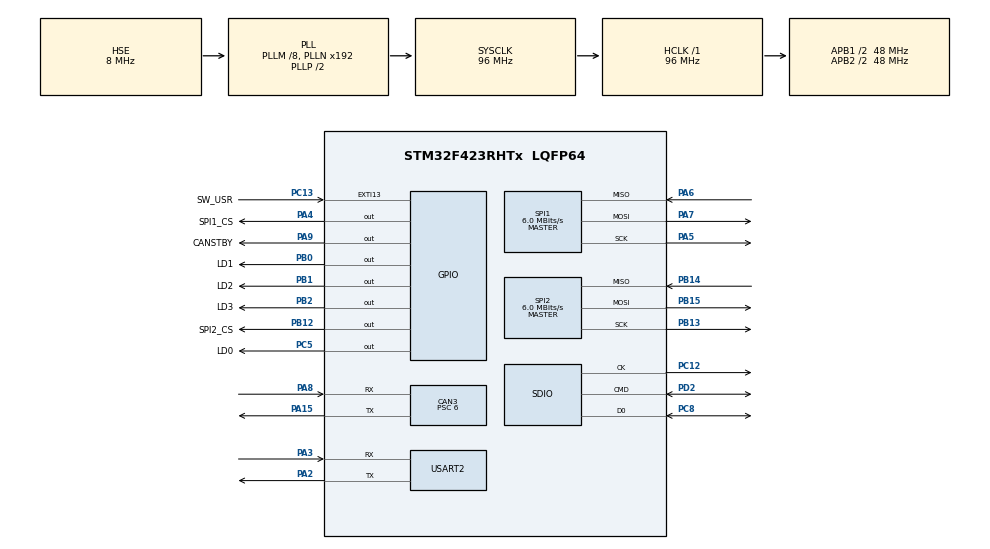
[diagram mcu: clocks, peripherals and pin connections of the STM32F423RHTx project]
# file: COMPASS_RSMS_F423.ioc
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CAN3.BS1=CAN_BS1_6TQ
CAN3.BS2=CAN_BS2_1TQ
CAN3.CalculateBaudRate=1000000
CAN3.CalculateTimeBit=1000.00
CAN3.CalculateTimeQuantum=125.0
CAN3.Prescaler=6
Mcu.Family=STM32F4
Mcu.Name=STM32F423RHTx
Mcu.Package=LQFP64
NVIC.CAN3_RX0_IRQn=true\:3\:0\:true\:false\:true\:true\:true
NVIC.EXTI15_10_IRQn=true\:2\:0\:true\:false\:true\:true\:true
NVIC.PriorityGroup=NVIC_PRIORITYGROUP_4
NVIC.TIM6_DAC_IRQn=true\:3\:0\:true\:false\:true\:true\:true
PA13.Mode=Trace_Asynchronous_SW
PA13.Signal=SYS_JTMS-SWDIO
PA14.Mode=Trace_Asynchronous_SW
PA14.Signal=SYS_JTCK-SWCLK
PA15.Mode=CAN_Activate
PA15.Signal=CAN3_TX
PA2.GPIO_PuPd=GPIO_PULLUP
PA2.Mode=Asynchronous
PA2.Signal=USART2_TX
PA3.GPIO_PuPd=GPIO_PULLUP
PA3.Mode=Asynchronous
PA3.Signal=USART2_RX
PA4.GPIO_Label=SPI1_CS
PA4.Signal=GPIO_Output
PA5.Mode=Full_Duplex_Master
PA5.Signal=SPI1_SCK
PA6.Mode=Full_Duplex_Master
PA6.Signal=SPI1_MISO
PA7.Mode=Full_Duplex_Master
PA7.Signal=SPI1_MOSI
PA8.Mode=CAN_Activate
PA8.Signal=CAN3_RX
PA9.GPIO_Label=CANSTBY
PA9.GPIO_PuPd=GPIO_PULLDOWN
PA9.Signal=GPIO_Output
PB0.GPIO_Label=LD1
PB0.Signal=GPIO_Output
PB1.GPIO_Label=LD2
PB1.Signal=GPIO_Output
PB12.GPIO_Label=SPI2_CS
PB12.Signal=GPIO_Output
PB13.Mode=Full_Duplex_Master
PB13.Signal=SPI2_SCK
PB14.Mode=Full_Duplex_Master
PB14.Signal=SPI2_MISO
PB15.Mode=Full_Duplex_Master
PB15.Signal=SPI2_MOSI
PB2.GPIO_Label=LD3
PB2.Signal=GPIO_Output
PB3.Mode=Trace_Asynchronous_SW
PB3.Signal=SYS_JTDO-SWO
PC10.GPIO_PuPd=GPIO_PULLUP
PC10.Signal=SDIO_D2
PC11.GPIO_PuPd=GPIO_PULLUP
PC11.Signal=SDIO_D3
PC12.Mode=SD_1_bit
PC12.Signal=SDIO_CK
PC13.GPIO_Label=SW_USR
PC13.Signal=GPXTI13
PC5.GPIO_Label=LD0
PC5.Signal=GPIO_Output
PC8.GPIO_PuPd=GPIO_PULLUP
PC8.Mode=SD_1_bit
PC8.Signal=SDIO_D0
PC9.GPIO_PuPd=GPIO_PULLUP
PC9.Signal=SDIO_D1
PD2.GPIO_PuPd=GPIO_PULLUP
PD2.Mode=SD_1_bit
PD2.Signal=SDIO_CMD
PH0\ -\ OSC_IN.Mode=HSE-External-Oscillator
PH0\ -\ OSC_IN.Signal=RCC_OSC_IN
PH1\ -\ OSC_OUT.Mode=HSE-External-Oscillator
PH1\ -\ OSC_OUT.Signal=RCC_OSC_OUT
ProjectManager.HeapSize=0x200
ProjectManager.StackSize=0x400
ProjectManager.TargetToolchain=STM32CubeIDE
RCC.AHBFreq_Value=96000000
RCC.APB1CLKDivider=RCC_HCLK_DIV2
RCC.APB1Freq_Value=48000000
RCC.APB1TimFreq_Value=96000000
RCC.APB2CLKDivider=RCC_HCLK_DIV2
RCC.APB2Freq_Value=48000000
RCC.APB2TimFreq_Value=96000000
RCC.CortexFreq_Value=96000000
RCC.HCLKFreq_Value=96000000
RCC.HSE_VALUE=8000000
RCC.PLLM=8
RCC.PLLQ=8
RCC.PLLSourceVirtual=RCC_PLLSOURCE_HSE
RCC.SYSCLKFreq_VALUE=96000000
RCC.SYSCLKSource=RCC_SYSCLKSOURCE_PLLCLK
RCC.USBFreq_Value=24000000
RCC.VCOOutputFreq_Value=192000000
SDIO.ClockDiv=15
SPI1.BaudRatePrescaler=SPI_BAUDRATEPRESCALER_8
SPI1.CLKPhase=SPI_PHASE_2EDGE
SPI1.CalculateBaudRate=6.0 MBits/s
SPI1.DataSize=SPI_DATASIZE_16BIT
SPI1.Direction=SPI_DIRECTION_2LINES
SPI1.FirstBit=SPI_FIRSTBIT_MSB
SPI1.Mode=SPI_MODE_MASTER
SPI1.VirtualType=VM_MASTER
SPI2.BaudRatePrescaler=SPI_BAUDRATEPRESCALER_8
SPI2.CLKPhase=SPI_PHASE_2EDGE
SPI2.CalculateBaudRate=6.0 MBits/s
SPI2.DataSize=SPI_DATASIZE_16BIT
SPI2.Direction=SPI_DIRECTION_2LINES
SPI2.Mode=SPI_MODE_MASTER
SPI2.VirtualType=VM_MASTER
TIM6.Period=1000 - 1
TIM6.Prescaler=96 - 1
USART2.VirtualMode=VM_ASYNC
VP_FATFS_VS_SDIO.Mode=SDIO
VP_TIM6_VS_ClockSourceINT.Mode=Enable_Timer
board=custom

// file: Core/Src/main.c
/* USER CODE BEGIN Header */
/**
 ******************************************************************************
 * @file           : main.c
 * @brief          : Main program body
 ******************************************************************************
 * @attention
 *
 * <h2><center>&copy; Copyright (c) 2021 STMicroelectronics.
 * All rights reserved.</center></h2>
 *
 * This software component is licensed by ST under BSD 3-Clause license,
 * the "License"; You may not use this file except in compliance with the
 * License. You may obtain a copy of the License at:
 *                        opensource.org/licenses/BSD-3-Clause
 *
 ******************************************************************************
 */
/* USER CODE END Header */
#include "main.h"
#include "can.h"
#include "fatfs.h"
#include "sdio.h"
#include "spi.h"
#include "tim.h"
#include "usart.h"
#include "gpio.h"

/* USER CODE BEGIN Includes */
#include "OSUserInclude.h"
#include "rsms.h"
/* USER CODE END Includes */

/* USER CODE BEGIN PV */

//IFC_PeripheralStruct ifc;
RSMS_PeripheralStruct rsms;
/* USER CODE END PV */

void SystemClock_Config(void);

/* USER CODE BEGIN 0 */
//uint16_t data[8];
//uint8_t indx;
//char str[15 + 8 * 6];
//void measureStuff(ADS_8688 *adc){
//	for(indx = 0; indx < 8; indx++){
//		data[indx] = ADS_measure(adc);
//	}
//	snprintf(str, 15 + 8 * 6, "Data: %06u %06u %06u %06u %06u %06u %06u %06u\n", data[0], data[1], data[2], data[3], data[4], data[5], data[6], data[7]);
//	xprintf(str);
//}
/* USER CODE END 0 */

int main(void)
{

  /* MCU Configuration--------------------------------------------------------*/

  /* Reset of all peripherals, Initializes the Flash interface and the Systick. */
  HAL_Init();

  /* Configure the system clock */
  SystemClock_Config();

  /* Initialize all configured peripherals */
  MX_GPIO_Init();
  MX_CAN3_Init();
  MX_SDIO_SD_Init();
  MX_SPI1_Init();
  MX_SPI2_Init();
  MX_USART2_UART_Init();
  MX_FATFS_Init();
  MX_TIM6_Init();
  /* USER CODE BEGIN 2 */

	// RSMS ============================================
	rsms.LD1.pin = LD0_Pin;
	rsms.LD1.port = LD0_GPIO_Port;
	rsms.LD2.pin = LD1_Pin;
	rsms.LD2.port = LD1_GPIO_Port;
	rsms.LD3.pin = LD2_Pin;
	rsms.LD3.port = LD2_GPIO_Port;
	rsms.LD4.pin = LD3_Pin;
	rsms.LD4.port = LD3_GPIO_Port;

	rsms.busIFC = &hcan3;

	rsms.hspi_t = &hspi1;
	rsms.chipSelect_t.pin = SPI1_CS_Pin;
	rsms.chipSelect_t.port = SPI1_CS_GPIO_Port;

	rsms.hspi_p = &hspi2;
	rsms.chipSelect_p.pin = SPI2_CS_Pin;
	rsms.chipSelect_p.port = SPI2_CS_GPIO_Port;

	rsms.serialDebug = &huart2;

	rsms.htim = &htim6;

  /* USER CODE END 2 */

  /* Infinite loop */
  /* USER CODE BEGIN WHILE */

	RSMS_init(&rsms);
	HYOS_start();

	while (1) {
		getTasks()->whileHandle();
    /* USER CODE END WHILE */

	}
}

void SystemClock_Config(void)
{
  RCC_OscInitTypeDef RCC_OscInitStruct = {0};
  RCC_ClkInitTypeDef RCC_ClkInitStruct = {0};
  RCC_PeriphCLKInitTypeDef PeriphClkInitStruct = {0};

  /** Configure the main internal regulator output voltage
  */
  __HAL_RCC_PWR_CLK_ENABLE();
  __HAL_PWR_VOLTAGESCALING_CONFIG(PWR_REGULATOR_VOLTAGE_SCALE1);
  /** Initializes the RCC Oscillators according to the specified parameters
  * in the RCC_OscInitTypeDef structure.
  */
  RCC_OscInitStruct.OscillatorType = RCC_OSCILLATORTYPE_HSE;
  RCC_OscInitStruct.HSEState = RCC_HSE_ON;
  RCC_OscInitStruct.PLL.PLLState = RCC_PLL_ON;
  RCC_OscInitStruct.PLL.PLLSource = RCC_PLLSOURCE_HSE;
  RCC_OscInitStruct.PLL.PLLM = 8;
  RCC_OscInitStruct.PLL.PLLN = 192;
  RCC_OscInitStruct.PLL.PLLP = RCC_PLLP_DIV2;
  RCC_OscInitStruct.PLL.PLLQ = 8;
  RCC_OscInitStruct.PLL.PLLR = 2;
  if (HAL_RCC_OscConfig(&RCC_OscInitStruct) != HAL_OK)
  {
    Error_Handler();
  }
  /** Initializes the CPU, AHB and APB buses clocks
  */
  RCC_ClkInitStruct.ClockType = RCC_CLOCKTYPE_HCLK|RCC_CLOCKTYPE_SYSCLK
                              |RCC_CLOCKTYPE_PCLK1|RCC_CLOCKTYPE_PCLK2;
  RCC_ClkInitStruct.SYSCLKSource = RCC_SYSCLKSOURCE_PLLCLK;
  RCC_ClkInitStruct.AHBCLKDivider = RCC_SYSCLK_DIV1;
  RCC_ClkInitStruct.APB1CLKDivider = RCC_HCLK_DIV2;
  RCC_ClkInitStruct.APB2CLKDivider = RCC_HCLK_DIV2;

  if (HAL_RCC_ClockConfig(&RCC_ClkInitStruct, FLASH_LATENCY_3) != HAL_OK)
  {
    Error_Handler();
  }
  PeriphClkInitStruct.PeriphClockSelection = RCC_PERIPHCLK_SDIO|RCC_PERIPHCLK_CLK48;
  PeriphClkInitStruct.Clk48ClockSelection = RCC_CLK48CLKSOURCE_PLLQ;
  PeriphClkInitStruct.SdioClockSelection = RCC_SDIOCLKSOURCE_CLK48;
  if (HAL_RCCEx_PeriphCLKConfig(&PeriphClkInitStruct) != HAL_OK)
  {
    Error_Handler();
  }
}

/* USER CODE BEGIN 4 */

void HAL_TIM_PeriodElapsedCallback(TIM_HandleTypeDef *htim) {
	RSMS_BOARD_tick();
}

/* USER CODE END 4 */

void Error_Handler(void)
{
	__disable_irq();
	while (1) {
	}
}

/************************ (C) COPYRIGHT STMicroelectronics *****END OF FILE****/
